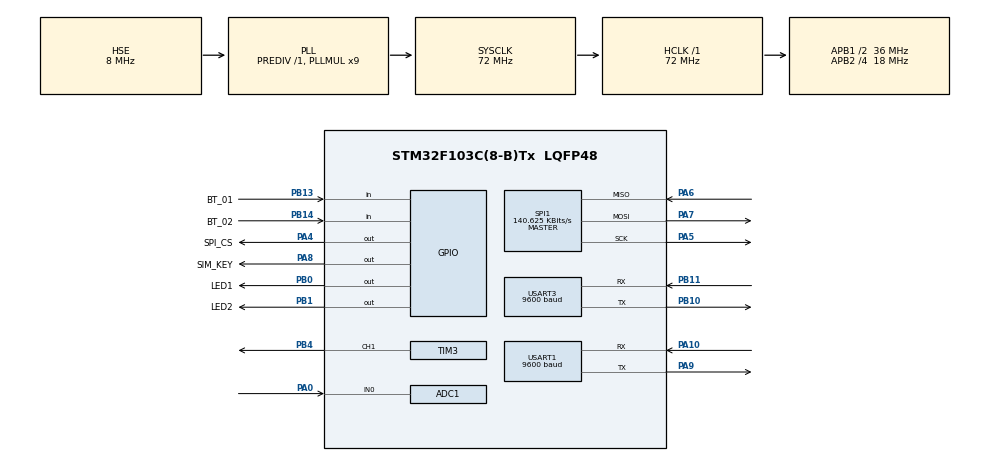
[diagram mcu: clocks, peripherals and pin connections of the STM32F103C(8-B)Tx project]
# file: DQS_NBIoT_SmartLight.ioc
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Mcu.Family=STM32F1
NVIC.USART3_IRQn=true\:0\:0\:false\:false\:true\:true\:true
PA6.Mode=Full_Duplex_Master
SPI1.VirtualType=VM_MASTER
PB10.Mode=Asynchronous
USART1.BaudRate=9600
PB14.GPIO_Label=BT_02
VP_RTC_VS_RTC_Activate.Mode=RTC_Enabled
PB0.GPIO_Label=LED1
PB13.GPIO_Label=BT_01
PB11.Signal=USART3_RX
PB13.Signal=GPIO_Input
RCC.SYSCLKSource=RCC_SYSCLKSOURCE_PLLCLK
ProjectManager.StackSize=0x400
PD1-OSC_OUT.Signal=RCC_OSC_OUT
USART3.BaudRate=9600
PB0.PinState=GPIO_PIN_RESET
SPI1.Direction=SPI_DIRECTION_2LINES
PB1.GPIO_PuPd=GPIO_PULLUP
RCC.HCLKFreq_Value=72000000
PB13.GPIO_Mode=GPIO_MODE_INPUT
RCC.APB2TimFreq_Value=36000000
TIM3.Period=100-1
SPI1.CalculateBaudRate=140.625 KBits/s
RCC.AHBFreq_Value=72000000
TIM3.Channel-PWM\ Generation1\ CH1=TIM_CHANNEL_1
ADC1.Channel-0\#ChannelRegularConversion=ADC_CHANNEL_0
RTC.Minutes=25
PA4.GPIO_PuPd=GPIO_PULLUP
RCC.RTCClockSelection=RCC_RTCCLKSOURCE_LSE
RCC.PLLMUL=RCC_PLL_MUL9
PA4.GPIO_Speed=GPIO_SPEED_FREQ_HIGH
RTC.Month=RTC_MONTH_JUNE
PC14-OSC32_IN.Mode=LSE-External-Oscillator
PB1.GPIO_Speed=GPIO_SPEED_FREQ_MEDIUM
PA14.Mode=Serial_Wire
TIM3.Prescaler=360-1
PB1.GPIO_Label=LED2
NVIC.TIM2_IRQn=true\:0\:0\:false\:false\:true\:true\:true
PA8.Signal=GPIO_Output
SH.ADCx_IN0.0=ADC1_IN0,IN0
SH.S_TIM3_CH1.0=TIM3_CH1,PWM Generation1 CH1
ADC1.SamplingTime-0\#ChannelRegularConversion=ADC_SAMPLETIME_1CYCLE_5
PB1.PinState=GPIO_PIN_SET
Mcu.Package=LQFP48
TIM2.Prescaler=1000-1
PB14.GPIO_PuPd=GPIO_PULLUP
PB1.Signal=GPIO_Output
PA6.Signal=SPI1_MISO
PA10.Signal=USART1_RX
VP_RTC_VS_RTC_Calendar.Mode=RTC_Calendar
PA4.GPIO_ModeDefaultOutputPP=GPIO_MODE_OUTPUT_PP
RCC.APB2CLKDivider=RCC_HCLK_DIV4
RCC.APB1TimFreq_Value=72000000
PB0.GPIO_ModeDefaultOutputPP=GPIO_MODE_OUTPUT_PP
NVIC.USART1_IRQn=true\:0\:0\:false\:false\:true\:true\:true
SPI1.BaudRatePrescaler=SPI_BAUDRATEPRESCALER_128
PA4.GPIO_Label=SPI_CS
PA8.GPIO_Speed=GPIO_SPEED_FREQ_MEDIUM
VP_TIM3_VS_ClockSourceINT.Mode=Internal
PB4.Signal=S_TIM3_CH1
PA5.Mode=Full_Duplex_Master
RCC.PLLSourceVirtual=RCC_PLLSOURCE_HSE
PC15-OSC32_OUT.Mode=LSE-External-Oscillator
ADC1.Rank-0\#ChannelRegularConversion=1
PA7.Mode=Full_Duplex_Master
PD1-OSC_OUT.Mode=HSE-External-Oscillator
PA10.Mode=Asynchronous
TIM3.AutoReloadPreload=TIM_AUTORELOAD_PRELOAD_ENABLE
PD0-OSC_IN.Signal=RCC_OSC_IN
RCC.APB1CLKDivider=RCC_HCLK_DIV2
PC14-OSC32_IN.Signal=RCC_OSC32_IN
PA0-WKUP.Signal=ADCx_IN0
PB0.GPIO_Speed=GPIO_SPEED_FREQ_MEDIUM
RCC.ADCPresc=RCC_ADCPCLK2_DIV6
PA13.Signal=SYS_JTMS-SWDIO
PA9.Mode=Asynchronous
PA8.GPIO_Label=SIM_KEY
PA4.PinState=GPIO_PIN_SET
PB11.Mode=Asynchronous
ProjectManager.TargetToolchain=STM32CubeIDE
RTC.Year=21
PA9.Signal=USART1_TX
RCC.USBFreq_Value=72000000
PC15-OSC32_OUT.Signal=RCC_OSC32_OUT
PD0-OSC_IN.Mode=HSE-External-Oscillator
PB10.Signal=USART3_TX
PB14.Signal=GPIO_Input
PA5.Signal=SPI1_SCK
board=custom
PB13.GPIO_PuPd=GPIO_PULLUP
RCC.APB2Freq_Value=18000000
VP_TIM2_VS_ClockSourceINT.Mode=Internal
SPI1.Mode=SPI_MODE_MASTER
TIM2.Period=72-1
PA13.Mode=Serial_Wire
Mcu.Name=STM32F103C(8-B)Tx
PA4.Signal=GPIO_Output
RCC.SYSCLKFreq_VALUE=72000000
RTC.Hours=11
ADC1.master=1
USART3.VirtualMode=VM_ASYNC
USART1.VirtualMode=VM_ASYNC
PA14.Signal=SYS_JTCK-SWCLK
ProjectManager.HeapSize=0x200
PA8.GPIO_PuPd=GPIO_PULLUP
NVIC.PriorityGroup=NVIC_PRIORITYGROUP_4
ADC1.NbrOfConversionFlag=1
PB1.GPIO_ModeDefaultOutputPP=GPIO_MODE_OUTPUT_PP
RCC.APB1Freq_Value=36000000
PB0.Signal=GPIO_Output
PB14.GPIO_Mode=GPIO_MODE_INPUT
RTC.Date=21
PB0.GPIO_PuPd=GPIO_PULLUP
PA7.Signal=SPI1_MOSI

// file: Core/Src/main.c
/* USER CODE BEGIN Header */
/**
  ******************************************************************************
  * @file           : main.c
  * @brief          : Main program body
  ******************************************************************************
  * @attention
  *
  * <h2><center>&copy; Copyright (c) 2021 STMicroelectronics.
  * All rights reserved.</center></h2>
  *
  * This software component is licensed by ST under BSD 3-Clause license,
  * the "License"; You may not use this file except in compliance with the
  * License. You may obtain a copy of the License at:
  *                        opensource.org/licenses/BSD-3-Clause
  *
  ******************************************************************************
  */
/* USER CODE END Header */
#include "main.h"

/* USER CODE BEGIN Includes */
#include "app.h"
/* USER CODE END Includes */

ADC_HandleTypeDef hadc1;

RTC_HandleTypeDef hrtc;

SPI_HandleTypeDef hspi1;

TIM_HandleTypeDef htim2;
TIM_HandleTypeDef htim3;

UART_HandleTypeDef huart1;
UART_HandleTypeDef huart3;

/* USER CODE BEGIN PV */
Scheduler_DataTypeDef stSchedulerData;
RTC_DateTimeTypedef stRtcDateTime;
uint8_t u8MachineSetState;
uint8_t u8MachineRunState;
uint8_t* pu8DataCmd;
uint8_t u8SecondTemp, u8Aut2StepTemp, u8PwmValueTemp, u8PwmValueStepTemp;
uint32_t u32FlashStart;
uint32_t u32FlashValue;
/* USER CODE END PV */

void SystemClock_Config(void);
static void MX_GPIO_Init(void);
static void MX_TIM2_Init(void);
static void MX_USART1_UART_Init(void);
static void MX_USART3_UART_Init(void);
static void MX_TIM3_Init(void);
static void MX_ADC1_Init(void);
static void MX_SPI1_Init(void);
static void MX_RTC_Init(void);
/* USER CODE BEGIN PFP */
uint8_t u8CheckSetup(uint8_t u8State);
void vRun(uint8_t u8State);
void vAutoControl1();
void vAutoControl2();
void vMachineRunStateFlush();
/* USER CODE END PFP */

int main(void)
{

  /* MCU Configuration--------------------------------------------------------*/

  /* Reset of all peripherals, Initializes the Flash interface and the Systick. */
  HAL_Init();

  /* Configure the system clock */
  SystemClock_Config();

  /* Initialize all configured peripherals */
  MX_GPIO_Init();
  MX_TIM2_Init();
  MX_USART1_UART_Init();
  MX_USART3_UART_Init();
  MX_TIM3_Init();
  MX_ADC1_Init();
  MX_SPI1_Init();
  MX_RTC_Init();
  /* USER CODE BEGIN 2 */

  u8MachineRunState = MA_STA_RUN_AUT1;

  GPIO_u8ButtonInit();
  GPIO_u8LedInit();
  GPIO_u8ScanInit();
  GPIO_u8ScanEnb();

  LIPWM_u8Init();
  LIPWM_u8Start();

  LIAMBS_u8Init();

  DBUG_u8Init();
  DBUG_u8RxEnb();

  SIM_u8SimInit();
  SIM_vOffSim();

  RTC_u8Init();

  GPIO_u8Led1On();

//  vFlashTest();
  /* USER CODE END 2 */

  /* Infinite loop */
  while (1)
  {

    /* USER CODE BEGIN 3 */
	  u8MachineSetState = DBUG_u8GetCmdState();

	  if(u8MachineSetState > 0)
	  {
		  u8MachineRunState = u8CheckSetup(u8MachineSetState);
	  }

	  vRun(u8MachineRunState);
  }
  /* USER CODE END 3 */
}

void SystemClock_Config(void)
{
  RCC_OscInitTypeDef RCC_OscInitStruct = {0};
  RCC_ClkInitTypeDef RCC_ClkInitStruct = {0};
  RCC_PeriphCLKInitTypeDef PeriphClkInit = {0};

  /** Initializes the RCC Oscillators according to the specified parameters
  * in the RCC_OscInitTypeDef structure.
  */
  RCC_OscInitStruct.OscillatorType = RCC_OSCILLATORTYPE_HSE|RCC_OSCILLATORTYPE_LSE;
  RCC_OscInitStruct.HSEState = RCC_HSE_ON;
  RCC_OscInitStruct.HSEPredivValue = RCC_HSE_PREDIV_DIV1;
  RCC_OscInitStruct.LSEState = RCC_LSE_ON;
  RCC_OscInitStruct.HSIState = RCC_HSI_ON;
  RCC_OscInitStruct.PLL.PLLState = RCC_PLL_ON;
  RCC_OscInitStruct.PLL.PLLSource = RCC_PLLSOURCE_HSE;
  RCC_OscInitStruct.PLL.PLLMUL = RCC_PLL_MUL9;
  if (HAL_RCC_OscConfig(&RCC_OscInitStruct) != HAL_OK)
  {
    Error_Handler();
  }
  /** Initializes the CPU, AHB and APB buses clocks
  */
  RCC_ClkInitStruct.ClockType = RCC_CLOCKTYPE_HCLK|RCC_CLOCKTYPE_SYSCLK
                              |RCC_CLOCKTYPE_PCLK1|RCC_CLOCKTYPE_PCLK2;
  RCC_ClkInitStruct.SYSCLKSource = RCC_SYSCLKSOURCE_PLLCLK;
  RCC_ClkInitStruct.AHBCLKDivider = RCC_SYSCLK_DIV1;
  RCC_ClkInitStruct.APB1CLKDivider = RCC_HCLK_DIV2;
  RCC_ClkInitStruct.APB2CLKDivider = RCC_HCLK_DIV4;

  if (HAL_RCC_ClockConfig(&RCC_ClkInitStruct, FLASH_LATENCY_2) != HAL_OK)
  {
    Error_Handler();
  }
  PeriphClkInit.PeriphClockSelection = RCC_PERIPHCLK_RTC|RCC_PERIPHCLK_ADC;
  PeriphClkInit.RTCClockSelection = RCC_RTCCLKSOURCE_LSE;
  PeriphClkInit.AdcClockSelection = RCC_ADCPCLK2_DIV6;
  if (HAL_RCCEx_PeriphCLKConfig(&PeriphClkInit) != HAL_OK)
  {
    Error_Handler();
  }
}

static void MX_ADC1_Init(void)
{

//  /* USER CODE BEGIN ADC1_Init 0 */
////
//  /* USER CODE END ADC1_Init 0 */
//
//  ADC_ChannelConfTypeDef sConfig = {0};
//
//  /* USER CODE BEGIN ADC1_Init 1 */
////
//  /* USER CODE END ADC1_Init 1 */
//  /** Common config
//  */
//  hadc1.Instance = ADC1;
//  hadc1.Init.ScanConvMode = ADC_SCAN_DISABLE;
//  hadc1.Init.ContinuousConvMode = DISABLE;
//  hadc1.Init.DiscontinuousConvMode = DISABLE;
//  hadc1.Init.ExternalTrigConv = ADC_SOFTWARE_START;
//  hadc1.Init.DataAlign = ADC_DATAALIGN_RIGHT;
//  hadc1.Init.NbrOfConversion = 1;
//  if (HAL_ADC_Init(&hadc1) != HAL_OK)
//  {
//    Error_Handler();
//  }
//  /** Configure Regular Channel
//  */
//  sConfig.Channel = ADC_CHANNEL_0;
//  sConfig.Rank = ADC_REGULAR_RANK_1;
//  sConfig.SamplingTime = ADC_SAMPLETIME_1CYCLE_5;
//  if (HAL_ADC_ConfigChannel(&hadc1, &sConfig) != HAL_OK)
//  {
//    Error_Handler();
//  }
//  /* USER CODE BEGIN ADC1_Init 2 */
////
//  /* USER CODE END ADC1_Init 2 */

}

static void MX_RTC_Init(void)
{

//  /* USER CODE BEGIN RTC_Init 0 */
////
//  /* USER CODE END RTC_Init 0 */
//
//  RTC_TimeTypeDef sTime = {0};
//  RTC_DateTypeDef DateToUpdate = {0};
//
//  /* USER CODE BEGIN RTC_Init 1 */
////
//  /* USER CODE END RTC_Init 1 */
//  /** Initialize RTC Only
//  */
//  hrtc.Instance = RTC;
//  hrtc.Init.AsynchPrediv = RTC_AUTO_1_SECOND;
//  hrtc.Init.OutPut = RTC_OUTPUTSOURCE_ALARM;
//  if (HAL_RTC_Init(&hrtc) != HAL_OK)
//  {
//    Error_Handler();
//  }
//
//  /* USER CODE BEGIN Check_RTC_BKUP */
////
//  /* USER CODE END Check_RTC_BKUP */
//
//  /** Initialize RTC and set the Time and Date
//  */
//  sTime.Hours = 0x11;
//  sTime.Minutes = 0x25;
//  sTime.Seconds = 0x0;
//
//  if (HAL_RTC_SetTime(&hrtc, &sTime, RTC_FORMAT_BCD) != HAL_OK)
//  {
//    Error_Handler();
//  }
//  DateToUpdate.WeekDay = RTC_WEEKDAY_MONDAY;
//  DateToUpdate.Month = RTC_MONTH_JUNE;
//  DateToUpdate.Date = 0x21;
//  DateToUpdate.Year = 0x21;
//
//  if (HAL_RTC_SetDate(&hrtc, &DateToUpdate, RTC_FORMAT_BCD) != HAL_OK)
//  {
//    Error_Handler();
//  }
//  /* USER CODE BEGIN RTC_Init 2 */
////
//  /* USER CODE END RTC_Init 2 */

}

static void MX_SPI1_Init(void)
{

//  /* USER CODE BEGIN SPI1_Init 0 */
////
//  /* USER CODE END SPI1_Init 0 */
//
//  /* USER CODE BEGIN SPI1_Init 1 */
////
//  /* USER CODE END SPI1_Init 1 */
//  /* SPI1 parameter configuration*/
//  hspi1.Instance = SPI1;
//  hspi1.Init.Mode = SPI_MODE_MASTER;
//  hspi1.Init.Direction = SPI_DIRECTION_2LINES;
//  hspi1.Init.DataSize = SPI_DATASIZE_8BIT;
//  hspi1.Init.CLKPolarity = SPI_POLARITY_LOW;
//  hspi1.Init.CLKPhase = SPI_PHASE_1EDGE;
//  hspi1.Init.NSS = SPI_NSS_SOFT;
//  hspi1.Init.BaudRatePrescaler = SPI_BAUDRATEPRESCALER_128;
//  hspi1.Init.FirstBit = SPI_FIRSTBIT_MSB;
//  hspi1.Init.TIMode = SPI_TIMODE_DISABLE;
//  hspi1.Init.CRCCalculation = SPI_CRCCALCULATION_DISABLE;
//  hspi1.Init.CRCPolynomial = 10;
//  if (HAL_SPI_Init(&hspi1) != HAL_OK)
//  {
//    Error_Handler();
//  }
//  /* USER CODE BEGIN SPI1_Init 2 */
////
//  /* USER CODE END SPI1_Init 2 */

}

static void MX_TIM2_Init(void)
{

//  /* USER CODE BEGIN TIM2_Init 0 */
////
//  /* USER CODE END TIM2_Init 0 */
//
//  TIM_ClockConfigTypeDef sClockSourceConfig = {0};
//  TIM_MasterConfigTypeDef sMasterConfig = {0};
//
//  /* USER CODE BEGIN TIM2_Init 1 */
////
//  /* USER CODE END TIM2_Init 1 */
//  htim2.Instance = TIM2;
//  htim2.Init.Prescaler = 1000-1;
//  htim2.Init.CounterMode = TIM_COUNTERMODE_UP;
//  htim2.Init.Period = 72-1;
//  htim2.Init.ClockDivision = TIM_CLOCKDIVISION_DIV1;
//  htim2.Init.AutoReloadPreload = TIM_AUTORELOAD_PRELOAD_DISABLE;
//  if (HAL_TIM_Base_Init(&htim2) != HAL_OK)
//  {
//    Error_Handler();
//  }
//  sClockSourceConfig.ClockSource = TIM_CLOCKSOURCE_INTERNAL;
//  if (HAL_TIM_ConfigClockSource(&htim2, &sClockSourceConfig) != HAL_OK)
//  {
//    Error_Handler();
//  }
//  sMasterConfig.MasterOutputTrigger = TIM_TRGO_RESET;
//  sMasterConfig.MasterSlaveMode = TIM_MASTERSLAVEMODE_DISABLE;
//  if (HAL_TIMEx_MasterConfigSynchronization(&htim2, &sMasterConfig) != HAL_OK)
//  {
//    Error_Handler();
//  }
//  /* USER CODE BEGIN TIM2_Init 2 */
////
//  /* USER CODE END TIM2_Init 2 */

}

static void MX_TIM3_Init(void)
{

//  /* USER CODE BEGIN TIM3_Init 0 */
////
//  /* USER CODE END TIM3_Init 0 */
//
//  TIM_ClockConfigTypeDef sClockSourceConfig = {0};
//  TIM_MasterConfigTypeDef sMasterConfig = {0};
//  TIM_OC_InitTypeDef sConfigOC = {0};
//
//  /* USER CODE BEGIN TIM3_Init 1 */
////
//  /* USER CODE END TIM3_Init 1 */
//  htim3.Instance = TIM3;
//  htim3.Init.Prescaler = 360-1;
//  htim3.Init.CounterMode = TIM_COUNTERMODE_UP;
//  htim3.Init.Period = 100-1;
//  htim3.Init.ClockDivision = TIM_CLOCKDIVISION_DIV1;
//  htim3.Init.AutoReloadPreload = TIM_AUTORELOAD_PRELOAD_ENABLE;
//  if (HAL_TIM_Base_Init(&htim3) != HAL_OK)
//  {
//    Error_Handler();
//  }
//  sClockSourceConfig.ClockSource = TIM_CLOCKSOURCE_INTERNAL;
//  if (HAL_TIM_ConfigClockSource(&htim3, &sClockSourceConfig) != HAL_OK)
//  {
//    Error_Handler();
//  }
//  if (HAL_TIM_PWM_Init(&htim3) != HAL_OK)
//  {
//    Error_Handler();
//  }
//  sMasterConfig.MasterOutputTrigger = TIM_TRGO_RESET;
//  sMasterConfig.MasterSlaveMode = TIM_MASTERSLAVEMODE_DISABLE;
//  if (HAL_TIMEx_MasterConfigSynchronization(&htim3, &sMasterConfig) != HAL_OK)
//  {
//    Error_Handler();
//  }
//  sConfigOC.OCMode = TIM_OCMODE_PWM1;
//  sConfigOC.Pulse = 0;
//  sConfigOC.OCPolarity = TIM_OCPOLARITY_HIGH;
//  sConfigOC.OCFastMode = TIM_OCFAST_DISABLE;
//  if (HAL_TIM_PWM_ConfigChannel(&htim3, &sConfigOC, TIM_CHANNEL_1) != HAL_OK)
//  {
//    Error_Handler();
//  }
//  /* USER CODE BEGIN TIM3_Init 2 */
////
//  /* USER CODE END TIM3_Init 2 */
//  HAL_TIM_MspPostInit(&htim3);

}

static void MX_USART1_UART_Init(void)
{

//  /* USER CODE BEGIN USART1_Init 0 */
////
//  /* USER CODE END USART1_Init 0 */
//
//  /* USER CODE BEGIN USART1_Init 1 */
////
//  /* USER CODE END USART1_Init 1 */
//  huart1.Instance = USART1;
//  huart1.Init.BaudRate = 9600;
//  huart1.Init.WordLength = UART_WORDLENGTH_8B;
//  huart1.Init.StopBits = UART_STOPBITS_1;
//  huart1.Init.Parity = UART_PARITY_NONE;
//  huart1.Init.Mode = UART_MODE_TX_RX;
//  huart1.Init.HwFlowCtl = UART_HWCONTROL_NONE;
//  huart1.Init.OverSampling = UART_OVERSAMPLING_16;
//  if (HAL_UART_Init(&huart1) != HAL_OK)
//  {
//    Error_Handler();
//  }
//  /* USER CODE BEGIN USART1_Init 2 */
////
//  /* USER CODE END USART1_Init 2 */

}

static void MX_USART3_UART_Init(void)
{

//  /* USER CODE BEGIN USART3_Init 0 */
//
//  /* USER CODE END USART3_Init 0 */
//
//  /* USER CODE BEGIN USART3_Init 1 */
//
//  /* USER CODE END USART3_Init 1 */
//  huart3.Instance = USART3;
//  huart3.Init.BaudRate = 9600;
//  huart3.Init.WordLength = UART_WORDLENGTH_8B;
//  huart3.Init.StopBits = UART_STOPBITS_1;
//  huart3.Init.Parity = UART_PARITY_NONE;
//  huart3.Init.Mode = UART_MODE_TX_RX;
//  huart3.Init.HwFlowCtl = UART_HWCONTROL_NONE;
//  huart3.Init.OverSampling = UART_OVERSAMPLING_16;
//  if (HAL_UART_Init(&huart3) != HAL_OK)
//  {
//    Error_Handler();
//  }
//  /* USER CODE BEGIN USART3_Init 2 */
//
//  /* USER CODE END USART3_Init 2 */

}

static void MX_GPIO_Init(void)
{
//  GPIO_InitTypeDef GPIO_InitStruct = {0};
//
//  /* GPIO Ports Clock Enable */
//  __HAL_RCC_GPIOC_CLK_ENABLE();
//  __HAL_RCC_GPIOD_CLK_ENABLE();
//  __HAL_RCC_GPIOA_CLK_ENABLE();
//  __HAL_RCC_GPIOB_CLK_ENABLE();
//
//  /*Configure GPIO pin Output Level */
//  HAL_GPIO_WritePin(SPI_CS_GPIO_Port, SPI_CS_Pin, GPIO_PIN_SET);
//
//  /*Configure GPIO pin Output Level */
//  HAL_GPIO_WritePin(LED1_GPIO_Port, LED1_Pin, GPIO_PIN_RESET);
//
//  /*Configure GPIO pin Output Level */
//  HAL_GPIO_WritePin(LED2_GPIO_Port, LED2_Pin, GPIO_PIN_SET);
//
//  /*Configure GPIO pin Output Level */
//  HAL_GPIO_WritePin(SIM_KEY_GPIO_Port, SIM_KEY_Pin, GPIO_PIN_RESET);
//
//  /*Configure GPIO pin : SPI_CS_Pin */
//  GPIO_InitStruct.Pin = SPI_CS_Pin;
//  GPIO_InitStruct.Mode = GPIO_MODE_OUTPUT_PP;
//  GPIO_InitStruct.Pull = GPIO_PULLUP;
//  GPIO_InitStruct.Speed = GPIO_SPEED_FREQ_HIGH;
//  HAL_GPIO_Init(SPI_CS_GPIO_Port, &GPIO_InitStruct);
//
//  /*Configure GPIO pins : LED1_Pin LED2_Pin */
//  GPIO_InitStruct.Pin = LED1_Pin|LED2_Pin;
//  GPIO_InitStruct.Mode = GPIO_MODE_OUTPUT_PP;
//  GPIO_InitStruct.Pull = GPIO_PULLUP;
//  GPIO_InitStruct.Speed = GPIO_SPEED_FREQ_MEDIUM;
//  HAL_GPIO_Init(GPIOB, &GPIO_InitStruct);
//
//  /*Configure GPIO pins : BT_01_Pin BT_02_Pin */
//  GPIO_InitStruct.Pin = BT_01_Pin|BT_02_Pin;
//  GPIO_InitStruct.Mode = GPIO_MODE_INPUT;
//  GPIO_InitStruct.Pull = GPIO_PULLUP;
//  HAL_GPIO_Init(GPIOB, &GPIO_InitStruct);
//
//  /*Configure GPIO pin : SIM_KEY_Pin */
//  GPIO_InitStruct.Pin = SIM_KEY_Pin;
//  GPIO_InitStruct.Mode = GPIO_MODE_OUTPUT_PP;
//  GPIO_InitStruct.Pull = GPIO_PULLUP;
//  GPIO_InitStruct.Speed = GPIO_SPEED_FREQ_MEDIUM;
//  HAL_GPIO_Init(SIM_KEY_GPIO_Port, &GPIO_InitStruct);

}

/* USER CODE BEGIN 4 */
/**
 * @fn void vCheckSetup(uint8_t)
 * @brief
 *
 * @pre
 * @post
 * @param u8State
 */
uint8_t u8CheckSetup(uint8_t u8State)
{
	/*if(u8State == MA_STA_RUN_MAN_LED)
	{
		DBUG_u8SendByte((uint8_t*)"MOK\n", 4);
		return u8State;
	}

	if(u8State == MA_STA_RUN_MAN_PWM)
	{
		DBUG_u8SendByte((uint8_t*)"MOK\n", 4);
		return u8State;
	}

	if(u8State == MA_STA_RUN_AUT1)
	{
		DBUG_u8SendByte((uint8_t*)"A1OK\n", 5);
		return u8State;
	}

	if(u8State == MA_STA_RUN_AUT2)
	{
		u8PwmValueStepTemp = 0;
		DBUG_u8SendByte((uint8_t*)"A2OK\n", 5);
		return u8State;
	}

	if(u8State == MA_STA_SET_SCH)
	{
		DBUG_u8SendByte((uint8_t*)"SOK\n", 4);
		return u8MachineRunState;
	}

	if(u8State == MA_STA_SET_SCH_UPD)
	{
		DBUG_u8SendByte((uint8_t*)"SROK\n", 5);
		return u8MachineRunState;
	}

	if(u8State == MA_STA_SET_SCH_END)
	{
		DBUG_u8SendByte((uint8_t*)"SEOK\n", 5);
		NVM_vStorageSchedulerData(&stSchedulerData);
		return u8MachineRunState;
	}*/
	// Get
	if(u8State == StaGetMcuVersion)
	{
		APP_vGetMcuVersion();
		return u8MachineRunState;
	}
	if(u8State == StaGetControlStatus)
	{
		return u8MachineRunState;
	}
	if(u8State == StaGetLightSensorValue)
	{
		return u8MachineRunState;
	}
	if(u8State == StaGetPMVoltageValue)
	{
		return u8MachineRunState;
	}
	if(u8State == StaGetPMCurrentValue)
	{
		return u8MachineRunState;
	}
	if(u8State == StaGetPMPowerValue)
	{
		return u8MachineRunState;
	}
	if(u8State == StaGetPMFrequencyValue)
	{
		return u8MachineRunState;
	}
	if(u8State == StaGetLightLevelValue)
	{
		return u8MachineRunState;
	}
	if(u8State == StaGetLightStatus)
	{
		return u8MachineRunState;
	}
	if(u8State == StaGetTimeStatus)
	{
		return u8MachineRunState;
	}
	if(u8State == StaGetDateStatus)
	{
		return u8MachineRunState;
	}
	if(u8State == StaGetWarningStatus)
	{
		return u8MachineRunState;
	}
	// Set
	if(u8State == StaSetControlStatus)
	{
		return u8State;
	}
	if(u8State == StaSetLightLevelValue)
	{
		return u8State;
	}
	if(u8State == StaSetLightStatus)
	{
		return u8State;
	}
	if(u8State == StaSetTimeStatus)
	{
		return u8State;
	}
	if(u8State == StaSetDateStatus)
	{
		return u8State;
	}
	if(u8State == StaSetSchedulerStart)
	{
		return u8State;
	}
	if(u8State == StaSetSchedulerData)
	{
		return u8State;
	}
	if(u8State == StaSetSchedulerEnd)
	{
		return u8State;
	}
	return 0;
}
/**
 * @fn void vRun()
 * @brief
 *
 * @pre
 * @post
 */
void vRun(uint8_t u8State)
{
	uint16_t u16Temp;
	if(u8State == MA_STA_RUN_MAN_LED)
	{
		pu8DataCmd = DBUG_pu8GetDataCmd();
		if(pu8DataCmd[0] == 0x01 && pu8DataCmd[1] == 0x00)
		{
			GPIO_u8Led1Off();
		}
		else if(pu8DataCmd[0] == 0x01 && pu8DataCmd[1] == 0x01)
		{
			GPIO_u8Led1On();
		}
		else if(pu8DataCmd[0] == 0x02 && pu8DataCmd[1] == 0x00)
		{
			GPIO_u8Led2Off();
		}
		else if(pu8DataCmd[0] == 0x02 && pu8DataCmd[1] == 0x01)
		{
			GPIO_u8Led2On();
		}
		vMachineRunStateFlush();
	}
	else if(u8State == MA_STA_RUN_MAN_PWM)
	{
		pu8DataCmd = DBUG_pu8GetDataCmd();
		u16Temp = (uint16_t)pu8DataCmd[1];
		u16Temp = (u16Temp << 8) + pu8DataCmd[2];
		LIPWM_vSetValue(pu8DataCmd[0], u16Temp);
		vMachineRunStateFlush();
	}
	else if(u8State == MA_STA_RUN_AUT1)
	{
		vAutoControl1();
	}
	else if(u8State == MA_STA_RUN_AUT2)
	{
		vAutoControl2();
	}
}
/**
 * @fn void vAutoControl1()
 * @brief
 *
 * @pre
 * @post
 */
void vAutoControl1()
{
	uint16_t u16AdcValue = LIAMBS_u16Read();
	if(u16AdcValue < 1000)
	{
		LIPWM_vSetValue(100, 0);
	}
	else if((u16AdcValue >= 1000) && (u16AdcValue < 2000))
	{
		LIPWM_vSetValue(75, 0);
	}
	else if((u16AdcValue >= 2000) && (u16AdcValue < 3000))
	{
		LIPWM_vSetValue(50, 0);
	}
	else if(u16AdcValue > 3000)
	{
		LIPWM_vSetValue(25, 0);
	}
}
/**
 * @fn void vAutoControl2()
 * @brief
 *
 * @pre
 * @post
 */
void vAutoControl2()
{
	RTC_vGetDateTime(&stRtcDateTime);
	if(u8SecondTemp != stRtcDateTime.Seconds)
	{
		u8SecondTemp = stRtcDateTime.Seconds;
		u8Aut2StepTemp++;
		if(u8Aut2StepTemp>=3)
		{
			u8Aut2StepTemp = 0;

			u8PwmValueTemp = stSchedulerData.stSchedulerDataSlot[0].stSchedulerValue[u8PwmValueStepTemp].u8Value;
			u8PwmValueStepTemp++;
			if(u8PwmValueStepTemp>=10)
				u8PwmValueStepTemp = 0;

			HAL_GPIO_TogglePin(LED1_GPIO_Port, LED1_Pin);

			LIPWM_vSetValue(u8PwmValueTemp, 2000);
//			u8PwmValueTemp+=10;
//			if(u8PwmValueTemp > 100)
//				u8PwmValueTemp = 0;
		}
	}
}
/**
 * @fn void vMachineRunStateFlush()
 * @brief
 *
 * @pre
 * @post
 */
void vMachineRunStateFlush()
{
	u8MachineRunState = MA_STA_NOP;
}

/* USER CODE END 4 */

void Error_Handler(void)
{
  __disable_irq();
  while (1)
  {
  }
}

/************************ (C) COPYRIGHT STMicroelectronics *****END OF FILE****/
